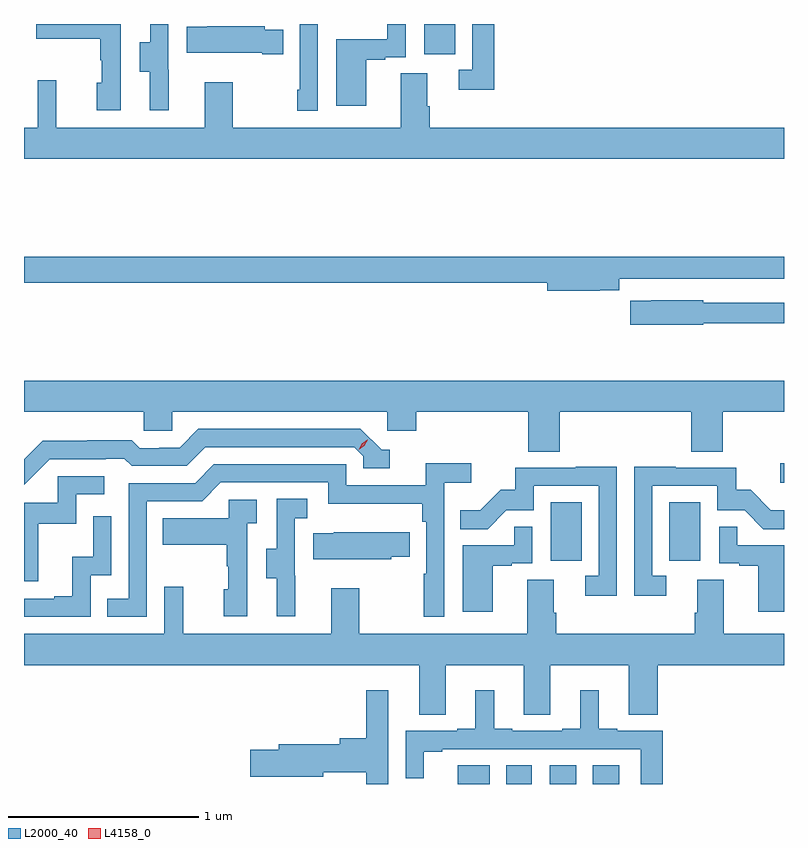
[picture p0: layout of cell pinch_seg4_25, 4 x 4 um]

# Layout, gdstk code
import gdstk
lib = gdstk.Library(unit=1e-6, precision=1e-09)
def R(c, l, rs):  # rectangles x0, y0, x1, y1
    for r in rs: c.add(gdstk.rectangle(r[:2], r[2:], *l))
def P(c, l, *ps):  # polygons
    for p in ps: c.add(gdstk.Polygon(p, *l))
L2000_40 = (2000, 40)
L4158_0 = (4158, 0)

pinch_seg4_25 = lib.new_cell('pinch_seg4_25')
R(pinch_seg4_25, L2000_40, [(1103.045,818.838,1103.212,818.936), (1103.3,818.838,1103.434,818.936), (1103.528,818.838,1103.668,818.936), (1103.756,818.838,1103.896,818.936), (1103.534,820.014,1103.698,820.321), (1104.158,820.014,1104.322,820.321), (1104.741,820.424,1104.762,820.526), (1102.868,822.678,1103.032,822.838)])
P(pinch_seg4_25, L2000_40, [(1103.237,822.838),(1103.121,822.838),(1103.121,822.597),(1103.049,822.597),(1103.049,822.492),(1103.237,822.492)],
  [(1101.524,822.597),(1101.522,822.597),(1101.522,822.838),(1101.426,822.838),(1101.426,822.741),(1101.371,822.741),(1101.371,822.586),(1101.425,822.586),(1101.425,822.384),(1101.524,822.384)],
  [(1101.27,822.838),(1100.827,822.838),(1100.827,822.761),(1101.162,822.761),(1101.162,822.647),(1101.172,822.647),(1101.172,822.528),(1101.146,822.528),(1101.146,822.384),(1101.27,822.384)],
  [(1102.564,822.651),(1102.664,822.651),(1102.664,822.663),(1102.77,822.663),(1102.77,822.838),(1102.675,822.838),(1102.675,822.759),(1102.406,822.759),(1102.406,822.408),(1102.564,822.408)],
  [(1102.308,822.838),(1102.212,822.838),(1102.212,822.493),(1102.2,822.493),(1102.2,822.381),(1102.308,822.381)],
  [(1102.127,822.808),(1102.029,822.808),(1102.029,822.826),(1101.727,822.826),(1101.727,822.823),(1101.619,822.823),(1101.619,822.686),(1102.016,822.686),(1102.016,822.679),(1102.127,822.679)],
  [(1104.762,822.292),(1102.898,822.292),(1102.898,822.404),(1102.885,822.404),(1102.885,822.578),(1102.745,822.578),(1102.745,822.292),(1101.861,822.292),(1101.861,822.532),(1101.713,822.532),(1101.713,822.292),(1100.933,822.292),(1100.933,822.541),(1100.835,822.541),(1100.835,822.292),(1100.762,822.292),(1100.762,822.128),(1104.762,822.128)],
  [(1103.792,821.436),(1103.894,821.436),(1103.894,821.496),(1104.762,821.496),(1104.762,821.612),(1100.762,821.612),(1100.762,821.476),(1103.516,821.476),(1103.516,821.434),(1103.792,821.434)],
  [(1104.336,821.262),(1104.762,821.262),(1104.762,821.37),(1104.336,821.37),(1104.336,821.383),(1104.064,821.383),(1104.064,821.381),(1103.953,821.381),(1103.953,821.254),(1104.336,821.254)],
  [(1103.582,820.796),(1104.275,820.796),(1104.275,820.588),(1104.44,820.588),(1104.44,820.796),(1104.762,820.796),(1104.762,820.96),(1100.762,820.96),(1100.762,820.796),(1101.393,820.796),(1101.393,820.698),(1101.543,820.698),(1101.543,820.796),(1102.674,820.796),(1102.674,820.698),(1102.826,820.698),(1102.826,820.796),(1103.417,820.796),(1103.417,820.588),(1103.582,820.588)],
  [(1100.898,820.548),(1101.191,820.548),(1101.191,820.551),(1101.29,820.551),(1101.329,820.512),(1101.618,820.512),(1101.717,820.611),(1102.5,820.611),(1102.548,820.563),(1102.548,820.5),(1102.687,820.5),(1102.687,820.596),(1102.644,820.596),(1102.533,820.707),(1101.68,820.707),(1101.581,820.608),(1101.474,820.608),(1101.474,820.605),(1101.371,820.605),(1101.329,820.648),(1101.096,820.648),(1101.096,820.645),(1100.86,820.645),(1100.762,820.547),(1100.762,820.412)],
  [(1101.408,820.326),(1101.699,820.326),(1101.798,820.425),(1102.362,820.425),(1102.362,820.313),(1102.858,820.313),(1102.858,820.217),(1102.878,820.217),(1102.878,819.944),(1102.866,819.944),(1102.866,819.717),(1102.974,819.717),(1102.974,820.424),(1103.116,820.424),(1103.116,820.526),(1102.877,820.526),(1102.877,820.41),(1102.458,820.41),(1102.458,820.521),(1101.761,820.521),(1101.662,820.422),(1101.312,820.422),(1101.312,819.813),(1101.199,819.813),(1101.199,819.717),(1101.408,819.717)],
  [(1103.883,820.508),(1103.665,820.508),(1103.665,820.503),(1103.347,820.503),(1103.347,820.386),(1103.27,820.386),(1103.163,820.279),(1103.059,820.279),(1103.059,820.18),(1103.203,820.18),(1103.301,820.278),(1103.445,820.278),(1103.445,820.407),(1103.787,820.407),(1103.787,819.933),(1103.715,819.933),(1103.715,819.828),(1103.883,819.828)],
  [(1104.142,819.933),(1104.069,819.933),(1104.069,820.407),(1104.411,820.407),(1104.411,820.278),(1104.555,820.278),(1104.653,820.18),(1104.762,820.18),(1104.762,820.279),(1104.693,820.279),(1104.586,820.386),(1104.51,820.386),(1104.51,820.503),(1104.191,820.503),(1104.191,820.508),(1103.973,820.508),(1103.973,819.828),(1104.142,819.828)],
  [(1100.837,820.209),(1101.036,820.209),(1101.036,820.362),(1101.184,820.362),(1101.184,820.458),(1100.94,820.458),(1100.94,820.317),(1100.762,820.317),(1100.762,819.906),(1100.837,819.906)],
  [(1102.19,819.933),(1102.188,819.933),(1102.188,820.237),(1102.252,820.237),(1102.252,820.34),(1102.092,820.34),(1102.092,820.077),(1102.037,820.077),(1102.037,819.922),(1102.091,819.922),(1102.091,819.72),(1102.19,819.72)],
  [(1101.936,820.211),(1101.988,820.211),(1101.988,820.335),(1101.84,820.335),(1101.84,820.237),(1101.493,820.237),(1101.493,820.097),(1101.828,820.097),(1101.828,819.983),(1101.838,819.983),(1101.838,819.864),(1101.812,819.864),(1101.812,819.72),(1101.936,819.72)],
  [(1101.114,819.936),(1101.222,819.936),(1101.222,820.246),(1101.126,820.246),(1101.126,820.034),(1101.017,820.034),(1101.017,819.826),(1100.921,819.826),(1100.921,819.813),(1100.762,819.813),(1100.762,819.717),(1101.114,819.717)],
  [(1103.23,819.987),(1103.33,819.987),(1103.33,819.999),(1103.436,819.999),(1103.436,820.193),(1103.341,820.193),(1103.341,820.095),(1103.072,820.095),(1103.072,819.744),(1103.23,819.744)],
  [(1104.762,820.095),(1104.515,820.095),(1104.515,820.193),(1104.42,820.193),(1104.42,819.999),(1104.527,819.999),(1104.527,819.987),(1104.626,819.987),(1104.626,819.744),(1104.762,819.744)],
  [(1102.695,820.033),(1102.793,820.033),(1102.793,820.162),(1102.393,820.162),(1102.393,820.159),(1102.285,820.159),(1102.285,820.022),(1102.695,820.022)],
  [(1102.981,819.464),(1103.393,819.464),(1103.393,819.202),(1103.533,819.202),(1103.533,819.464),(1103.945,819.464),(1103.945,819.202),(1104.098,819.202),(1104.098,819.464),(1104.762,819.464),(1104.762,819.628),(1104.445,819.628),(1104.445,819.914),(1104.305,819.914),(1104.305,819.74),(1104.293,819.74),(1104.293,819.628),(1103.564,819.628),(1103.564,819.74),(1103.551,819.74),(1103.551,819.914),(1103.411,819.914),(1103.411,819.628),(1102.527,819.628),(1102.527,819.868),(1102.379,819.868),(1102.379,819.628),(1101.599,819.628),(1101.599,819.877),(1101.501,819.877),(1101.501,819.628),(1100.762,819.628),(1100.762,819.464),(1102.841,819.464),(1102.841,819.202),(1102.981,819.202)],
  [(1104.125,819.117),(1103.884,819.117),(1103.884,819.13),(1103.788,819.13),(1103.788,819.331),(1103.69,819.331),(1103.69,819.13),(1103.594,819.13),(1103.594,819.117),(1103.332,819.117),(1103.332,819.13),(1103.236,819.13),(1103.236,819.331),(1103.138,819.331),(1103.138,819.13),(1103.042,819.13),(1103.042,819.117),(1102.77,819.117),(1102.77,818.868),(1102.867,818.868),(1102.867,819.009),(1102.963,819.009),(1102.963,819.021),(1104.009,819.021),(1104.009,818.838),(1104.125,818.838)],
  [(1102.68,819.331),(1102.564,819.331),(1102.564,819.078),(1102.424,819.078),(1102.424,819.048),(1102.103,819.048),(1102.103,819.018),(1101.954,819.018),(1101.954,818.876),(1102.338,818.876),(1102.338,818.9),(1102.564,818.9),(1102.564,818.838),(1102.68,818.838)])
P(pinch_seg4_25, L4158_0, [(1102.524,820.597),(1102.524,820.597),(1102.539,820.63),(1102.569,820.65),(1102.57,820.65),(1102.57,820.65),(1102.554,820.617),(1102.524,820.597)])

lib.write_gds('pinch_seg4_25.gds')
